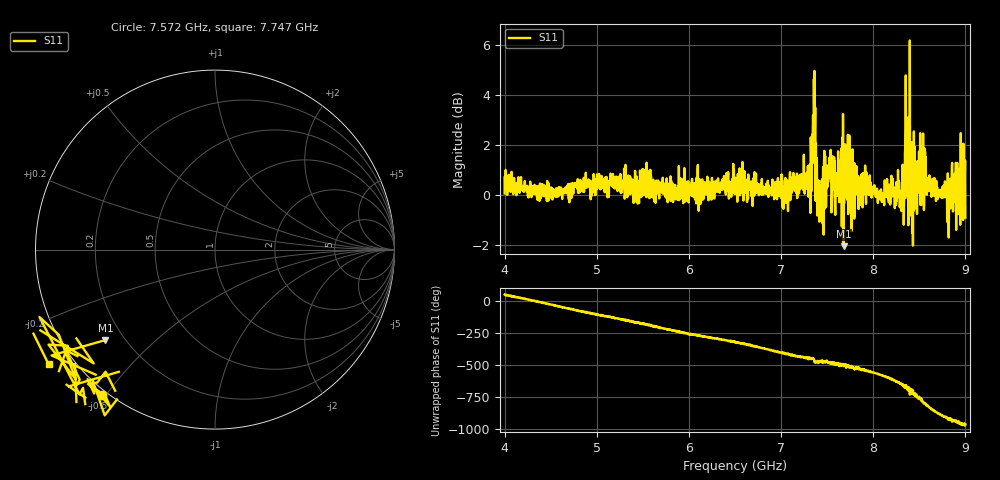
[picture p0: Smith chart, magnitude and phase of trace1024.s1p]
! Created with skrf 1.8.0 (http://scikit-rf.org).
# Hz S RI R 50.0
!freq ReS11 ImS11
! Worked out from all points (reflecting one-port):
!   1601 points, 4 GHz to 9 GHz, reference 50 ohm
!   lowest |S11| = -2.0 dB at 7.678 GHz (marker M1), VSWR 8.60, Z = 6.56 - j17.7 ohm
!   phase of S11 starts at 53 deg and turns -1013 deg over the sweep
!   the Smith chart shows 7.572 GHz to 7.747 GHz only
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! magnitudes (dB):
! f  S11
! 4 GHz  0.1
! 4.625 GHz  -0.1
! 5.25 GHz  0.5
! 5.875 GHz  0.0
! 6.5 GHz  0.3
! 7.125 GHz  0.5
! 7.294 GHz  0.9
! 7.319 GHz  -0.7
! 7.347 GHz  3.2
! 7.369 GHz  3.5
! 7.4 GHz  0.2
! 7.416 GHz  -1.1
! 7.519 GHz  0.7
! 7.609 GHz  0.0
! 7.678 GHz  -2.0
! 7.75 GHz  0.8
! 7.784 GHz  -0.1
! 7.891 GHz  0.5
! 8.309 GHz  -0.1
! 8.331 GHz  -1.2
! 8.375 GHz  -0.1
! 8.406 GHz  -0.8
! 8.447 GHz  2.0
! 8.522 GHz  1.6
! 8.606 GHz  0.2
! 8.819 GHz  -1.7
! 8.972 GHz  0.9
! 9 GHz  -0.9
